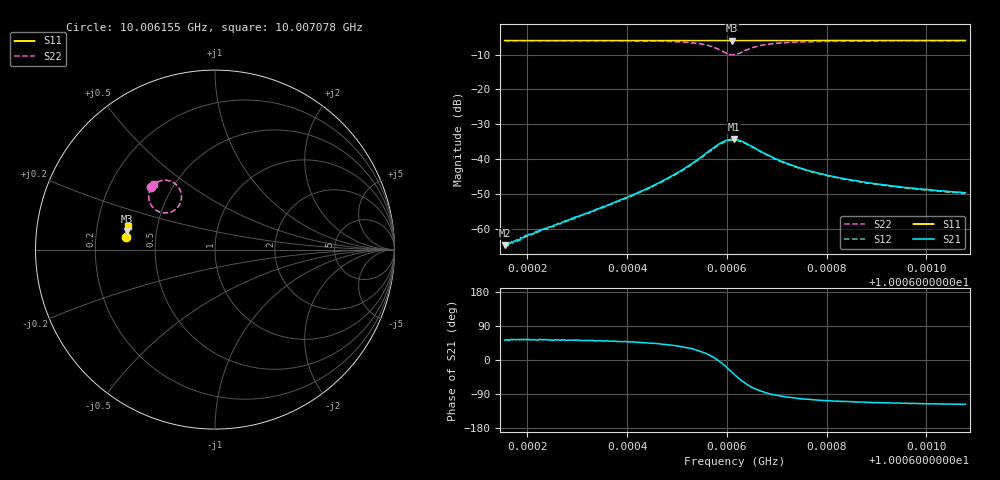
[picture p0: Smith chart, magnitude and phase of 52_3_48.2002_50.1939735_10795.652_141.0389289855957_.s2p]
#  HZ  S  RI  R  50.00
! Rohde & Schwarz Vector Network Analyzer
! Rohde-Schwarz,ZNB20-2Port,1311601062101988,3.16
! Created: UTC 3/20/2024, 11:38:19 AM
! freq[Hz]  re:S11  im:S11  re:S21  im:S21  re:S12  im:S12  re:S22  im:S22
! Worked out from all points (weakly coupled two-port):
!   401 points, 10.006155 GHz to 10.007078 GHz, reference 50 ohm
!   highest |S21| = -34.30 dB at 10.006614 GHz (marker M1); lowest = -64.7 dB at 10.006155 GHz (marker M2)
!   lowest |S11| = -6.0 dB at 10.006609 GHz (marker M3), VSWR 3.00, Z = 16.8 + j4.53 ohm
!   |S11| at or under -10 dB: nowhere
!   |S22| runs from -10.1 to -6.0 dB; largest |S21 - S12| = 0.0014
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1.00061547e10  -0.4966 0.0724  0.000354 0.000459  0.000322 0.000466  -0.3577 0.3484
1.00061801e10  -0.4964 0.0739  0.00041 0.000571  0.000375 0.000546  -0.3557 0.3503
1.00062008e10  -0.4963 0.0754  0.000474 0.000649  0.000455 0.000663  -0.3539 0.3521
1.00063093e10  -0.4953 0.0826  0.00097 0.00123  0.000924 0.00128  -0.343 0.3619
1.00064109e10  -0.4942 0.0891  0.00208 0.00227  0.00193 0.0023  -0.326 0.3736
1.0006464e10  -0.4935 0.0927  0.00336 0.00312  0.00316 0.0032  -0.3092 0.3813
1.00065148e10  -0.493 0.0962  0.0061 0.00407  0.00577 0.00427  -0.279 0.3864
1.00065564e10  -0.4919 0.0988  0.0112 0.00375  0.0107 0.00405  -0.2299 0.3728
1.00065864e10  -0.4909 0.1005  0.0168 -0.00153  0.0163 -0.000592  -0.1884 0.3141
1.00065979e10  -0.4906 0.1007  0.0178 -0.00544  0.0173 -0.00455  -0.1888 0.274
1.00066095e10  -0.4903 0.101  0.0164 -0.0101  0.0164 -0.00877  -0.2089 0.2349
1.00066141e10  -0.4904 0.101  0.0153 -0.0117  0.0156 -0.0104  -0.2223 0.2225
1.00066164e10  -0.4904 0.1012  0.0148 -0.0123  0.0151 -0.011  -0.2294 0.2176
1.00066349e10  -0.4908 0.1019  0.0089 -0.0149  0.00948 -0.0142  -0.2907 0.2046
1.0006651e10  -0.4911 0.1029  0.00455 -0.0146  0.0053 -0.0139  -0.3293 0.2199
1.00066695e10  -0.4913 0.1041  0.00166 -0.0126  0.00227 -0.0124  -0.353 0.244
1.00067111e10  -0.491 0.1071  -0.00092 -0.00924  -0.000447 -0.00904  -0.3682 0.2852
1.00067711e10  -0.4904 0.1111  -0.00167 -0.00644  -0.00138 -0.00639  -0.3662 0.316
1.00068357e10  -0.4896 0.1153  -0.00173 -0.00496  -0.00149 -0.0049  -0.3605 0.3336
1.00069258e10  -0.4884 0.1211  -0.00163 -0.00388  -0.00147 -0.00384  -0.3529 0.3477
1.00070089e10  -0.4874 0.1264  -0.00155 -0.00329  -0.00138 -0.00324  -0.347 0.3567
1.00070781e10  -0.4864 0.1309  -0.00149 -0.00296  -0.00132 -0.00296  -0.3421 0.3628
